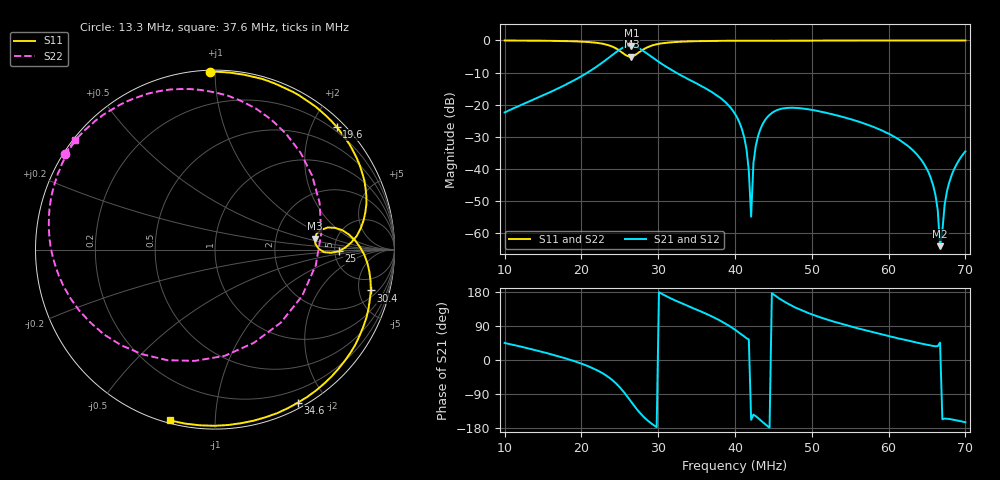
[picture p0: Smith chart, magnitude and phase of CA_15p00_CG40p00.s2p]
#  HZ  S  RI  R  50.00
! Rohde & Schwarz ZVT8 8Ports - Version 4.11 - 1300.0000k08 SN: 100242
! Date: 2026-07-31 14:17:19
! Measurements: S11 S21 S12 S22
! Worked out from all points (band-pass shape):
!   201 points, 10 MHz to 70 MHz, reference 50 ohm
!   highest |S21| = -1.69 dB at 26.5 MHz (marker M1); lowest = -64.1 dB at 66.7 MHz (marker M2)
!   |S21| within 3 dB of the highest: 23.94 MHz to 28.89 MHz (4.946 MHz wide, 18.7 % of centre)
!   lowest |S11| = -5.1 dB at 26.5 MHz (marker M3), VSWR 3.53, Z = 170 + j30.2 ohm
!   |S11| at or under -10 dB: nowhere
!   |S22| runs from -5.2 to 0.0 dB; largest |S21 - S12| = 0.0038
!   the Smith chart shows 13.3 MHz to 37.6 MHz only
!   S11 on the Smith chart (normalised r, x): 13.3 MHz: 0.01, +0.97; 19.6 MHz: 0.13, +2.40; 25 MHz: 5.41, -0.20; 30.4 MHz: 2.81, -6.59; 34.6 MHz: 0.06, -1.68; 37.6 MHz: 0.01, -0.77
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1e7  -0.4061 0.9101  0.0534 0.0535  0.053 0.0537  -0.9161 0.3925
1.33e7  -0.0261 0.9909  0.0991 0.0558  0.099 0.0554  -0.8378 0.5311
1.96e7  0.6784 0.6834  0.2576 -0.0304  0.258 -0.0299  -0.51 0.817
2.02e7  0.7266 0.6191  0.2803 -0.0548  0.2797 -0.0543  -0.449 0.8421
2.5e7  0.6882 -0.0099  0.2219 -0.6844  0.22 -0.6857  0.5411 0.4124
2.65e7  0.5548 0.0609  -0.2929 -0.7696  -0.2943 -0.7707  0.366 -0.4076
3.01e7  0.8666 -0.1757  -0.4611 0.00775  -0.4604 0.00669  -0.8712 -0.1422
3.04e7  0.8684 -0.2274  -0.4338 0.0339  -0.4358 0.034  -0.8914 -0.0837
3.46e7  0.461 -0.8534  -0.1628 0.156  -0.1631 0.1559  -0.8751 0.4246
3.76e7  -0.2502 -0.9522  -0.045 0.1331  -0.0452 0.1333  -0.7787 0.6088
4e7  -0.8962 -0.4134  0.0125 0.0706  0.0126 0.0706  -0.6958 0.7131
4.15e7  -0.9344 0.3192  0.0108 0.017  0.0108 0.0169  -0.6392 0.7656
4.21e7  -0.7704 0.6182  -0.00166 -0.000676  -0.00165 -0.000704  -0.6173 0.7846
4.24e7  -0.6465 0.7459  -0.00993 -0.00717  -0.00986 -0.00724  -0.6066 0.7935
4.36e7  0.00886 0.9871  -0.0477 -0.014  -0.0476 -0.0138  -0.5602 0.8252
4.63e7  0.9605 0.2305  -0.0796 0.0361  -0.0795 0.0361  -0.4619 0.8804
5.02e7  0.6255 -0.7703  -0.0397 0.0717  -0.04 0.0715  -0.3207 0.941
6.01e7  -0.7837 -0.6137  0.016 0.031  0.0159 0.0308  0.05 0.9952
6.52e7  -0.9964 -0.0163  0.00681 0.00559  0.00679 0.00554  0.2452 0.9678
6.67e7  -0.9828 0.1659  0.000435 0.000448  0.000449 0.000431  0.3018 0.9509
6.79e7  -0.948 0.3068  -0.00562 -0.00255  -0.00564 -0.00253  0.3471 0.9342
7e7  -0.8412 0.5345  -0.018 -0.00506  -0.018 -0.00503  0.4257 0.9024
